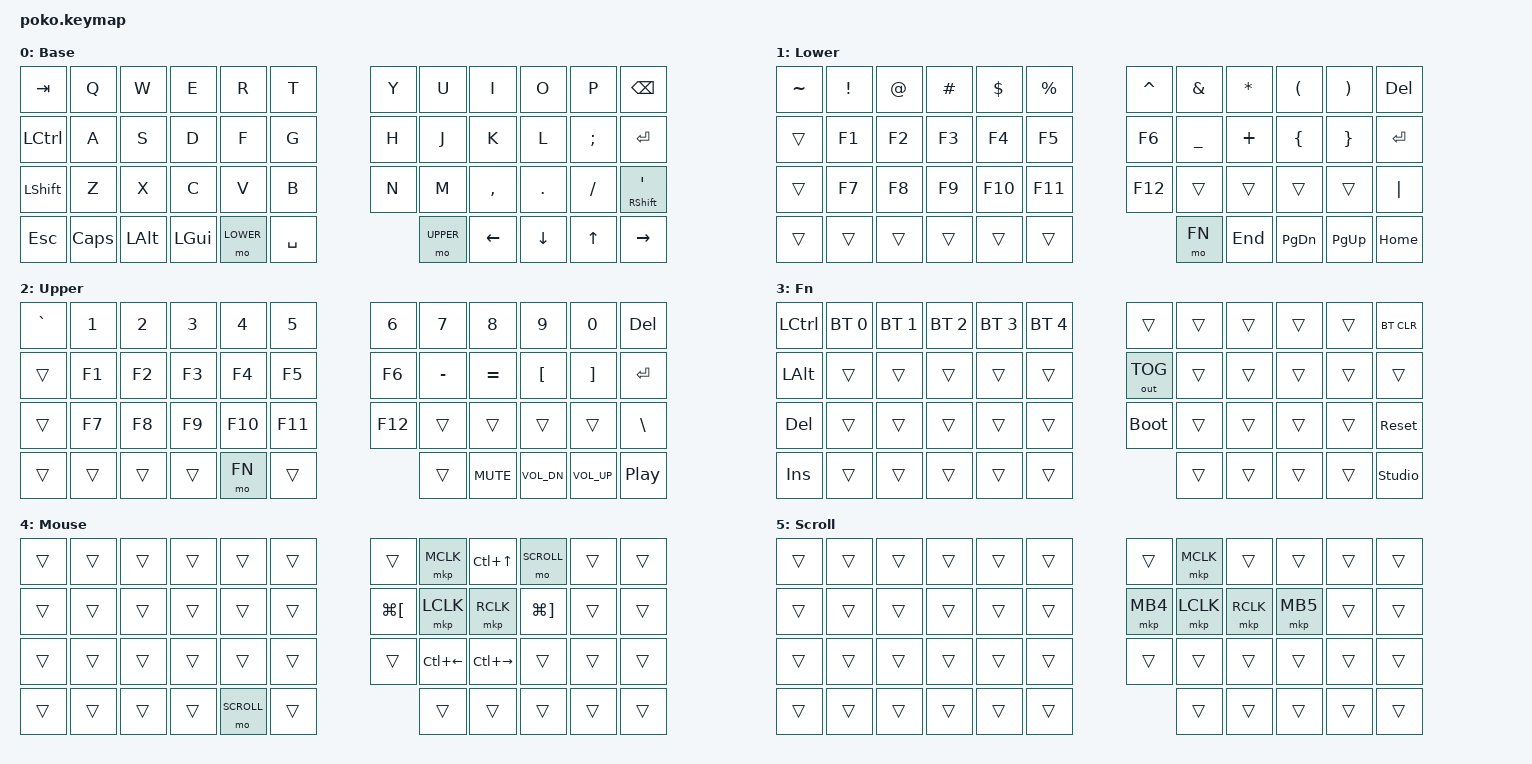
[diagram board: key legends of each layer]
/*
 * poko (split-wireless) keymap
 *
 * low-profile-with-trackball の QMK 版 (lp_tb/v0_1/keymaps/vial/keymap.c) からの移植。
 * 物理配列が同じ 4行×12列・右手最下段内側がトラックボールなので、レイヤ構成をそのまま持ってきた。
 *
 * バインド順 = poko.dtsi の matrix-transform の map 順。
 *   row0 = 12 / row1 = 12 / row2 = 12 / row3 = 11（RC(3,6) がトラボ穴）  計 47
 *
 * QMK からの差分（意図的な追加）:
 *   - FN レイヤに BLE 関連（&bt / &out / &bootloader / &sys_reset）を追加。
 *     無線機なのでペアリング操作の口が要る。XIAO 直付けでリセットボタンが
 *     ケースに隠れる可能性もあるため &bootloader をキーからも踏めるようにした。
 *     プロファイル選択は Q W E R T（BT_SEL 0-4）。FN は右手/左手どちらの親指でも
 *     踏めるので、左手の指がそのまま数字代わりに使える配置にしてある。
 *     &bt BT_CLR は誤爆防止で離れた BSPC の位置に置いた。
 *   - QMK の auto-mouse / scroll layer は poko_right.overlay 側の
 *     input-processors（zip_temp_layer / zip_xy_to_scroll_mapper）で再現している。
 */

#include <behaviors.dtsi>
#include <dt-bindings/zmk/keys.h>
#include <dt-bindings/zmk/bt.h>
#include <dt-bindings/zmk/outputs.h>
#include <dt-bindings/zmk/pointing.h>

#define BASE   0
#define LOWER  1
#define UPPER  2
#define FN     3
#define MOUSE  4
#define SCROLL 5

/ {
    keymap {
        compatible = "zmk,keymap";

        base_layer {
            display-name = "Base";
            bindings = <
&kp TAB    &kp Q     &kp W     &kp E     &kp R      &kp T       &kp Y  &kp U      &kp I      &kp O     &kp P     &kp BSPC
&kp LCTRL  &kp A     &kp S     &kp D     &kp F      &kp G       &kp H  &kp J      &kp K      &kp L     &kp SEMI  &kp ENTER
&kp LSHFT  &kp Z     &kp X     &kp C     &kp V      &kp B       &kp N  &kp M      &kp COMMA  &kp DOT   &kp FSLH  &mt RSHFT SQT
&kp ESC    &kp CAPS  &kp LALT  &kp LGUI  &mo LOWER  &kp SPACE          &mo UPPER  &kp LEFT   &kp DOWN  &kp UP    &kp RIGHT
            >;
        };

        lower_layer {
            display-name = "Lower";
            bindings = <
&kp TILDE  &kp EXCL  &kp AT  &kp HASH  &kp DLLR  &kp PRCNT    &kp CARET  &kp AMPS   &kp ASTRK  &kp LPAR   &kp RPAR   &kp DEL
&trans     &kp F1    &kp F2  &kp F3    &kp F4    &kp F5       &kp F6     &kp UNDER  &kp PLUS   &kp LBRC   &kp RBRC   &kp ENTER
&trans     &kp F7    &kp F8  &kp F9    &kp F10   &kp F11      &kp F12    &trans     &trans     &trans     &trans     &kp PIPE
&trans     &trans    &trans  &trans    &trans    &trans                  &mo FN     &kp END    &kp PG_DN  &kp PG_UP  &kp HOME
            >;
        };

        upper_layer {
            display-name = "Upper";
            bindings = <
&kp GRAVE  &kp N1  &kp N2  &kp N3  &kp N4   &kp N5     &kp N6   &kp N7     &kp N8      &kp N9        &kp N0        &kp DEL
&trans     &kp F1  &kp F2  &kp F3  &kp F4   &kp F5     &kp F6   &kp MINUS  &kp EQUAL   &kp LBKT      &kp RBKT      &kp ENTER
&trans     &kp F7  &kp F8  &kp F9  &kp F10  &kp F11    &kp F12  &trans     &trans      &trans        &trans        &kp BSLH
&trans     &trans  &trans  &trans  &mo FN   &trans              &trans     &kp C_MUTE  &kp C_VOL_DN  &kp C_VOL_UP  &kp C_PP
            >;
        };

        fn_layer {
            display-name = "Fn";
            bindings = <
&kp LCTRL  &bt BT_SEL 0  &bt BT_SEL 1  &bt BT_SEL 2  &bt BT_SEL 3  &bt BT_SEL 4    &trans        &trans  &trans  &trans  &trans  &bt BT_CLR
&kp LALT   &trans        &trans        &trans        &trans        &trans          &out OUT_TOG  &trans  &trans  &trans  &trans  &trans
&kp DEL    &trans        &trans        &trans        &trans        &trans          &bootloader   &trans  &trans  &trans  &trans  &sys_reset
&kp INS    &trans        &trans        &trans        &trans        &trans                        &trans  &trans  &trans  &trans  &studio_unlock
            >;
        };

        /* ボールを動かすと自動で乗る（poko_right.overlay の zip_temp_layer） */
        mouse_layer {
            display-name = "Mouse";
            bindings = <
&trans  &trans  &trans  &trans  &trans      &trans    &trans        &mkp MCLK     &kp LC(UP)     &mo SCROLL    &trans  &trans
&trans  &trans  &trans  &trans  &trans      &trans    &kp LG(LBKT)  &mkp LCLK     &mkp RCLK      &kp LG(RBKT)  &trans  &trans
&trans  &trans  &trans  &trans  &trans      &trans    &trans        &kp LC(LEFT)  &kp LC(RIGHT)  &trans        &trans  &trans
&trans  &trans  &trans  &trans  &mo SCROLL  &trans                  &trans        &trans         &trans        &trans  &trans
            >;
        };

        /* このレイヤの間だけボールがスクロールになる（overlay の scroller ノード） */
        scroll_layer {
            display-name = "Scroll";
            bindings = <
&trans  &trans  &trans  &trans  &trans  &trans    &trans    &mkp MCLK  &trans     &trans    &trans  &trans
&trans  &trans  &trans  &trans  &trans  &trans    &mkp MB4  &mkp LCLK  &mkp RCLK  &mkp MB5  &trans  &trans
&trans  &trans  &trans  &trans  &trans  &trans    &trans    &trans     &trans     &trans    &trans  &trans
&trans  &trans  &trans  &trans  &trans  &trans              &trans     &trans     &trans    &trans  &trans
            >;
        };
    };
};
